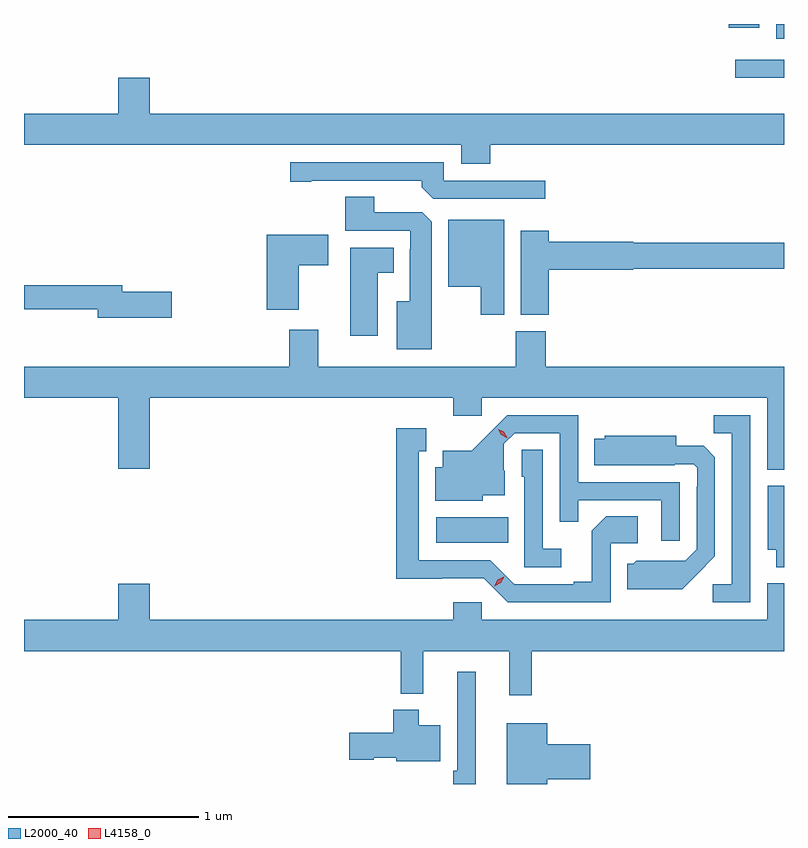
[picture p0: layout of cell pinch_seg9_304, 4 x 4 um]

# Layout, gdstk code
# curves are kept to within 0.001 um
import gdstk
lib = gdstk.Library(unit=1e-6, precision=1e-09)
def R(c, l, rs):  # rectangles x0, y0, x1, y1
    for r in rs: c.add(gdstk.rectangle(r[:2], r[2:], *l))
def P(c, l, *ps):  # polygons
    for p in ps: c.add(gdstk.Polygon(p, *l))
L2000_40 = (2000, 40)
L4158_0 = (4158, 0)

pinch_seg9_304 = lib.new_cell('pinch_seg9_304')
R(pinch_seg9_304, L2000_40, [(610.236,1195.658,610.616,1195.792), (611.811,1198.104,612.067,1198.2), (612.026,1198.31,612.067,1198.388), (611.776,1198.368,611.938,1198.388)])
P(pinch_seg9_304, L2000_40, [(610.52,1197.752),(612.067,1197.752),(612.067,1197.916),(608.728,1197.916),(608.728,1198.105),(608.564,1198.105),(608.564,1197.916),(608.067,1197.916),(608.067,1197.752),(610.367,1197.752),(610.367,1197.653),(610.52,1197.653)],
  [(610.81,1197.564),(610.275,1197.564),(610.275,1197.66),(609.468,1197.66),(609.468,1197.559),(609.58,1197.559),(609.58,1197.564),(610.16,1197.564),(610.16,1197.53),(610.221,1197.468),(610.81,1197.468)],
  [(610.213,1197.347),(610.164,1197.396),(609.91,1197.396),(609.91,1197.479),(609.758,1197.479),(609.758,1197.3),(610.101,1197.3),(610.101,1197.203),(610.097,1197.203),(610.097,1196.929),(610.028,1196.929),(610.028,1196.675),(610.213,1196.675)],
  [(610.594,1197.358),(610.301,1197.358),(610.301,1197.005),(610.472,1197.005),(610.472,1196.859),(610.594,1196.859)],
  [(610.829,1197.095),(611.274,1197.095),(611.274,1197.1),(612.067,1197.1),(612.067,1197.236),(611.274,1197.236),(611.274,1197.242),(610.829,1197.242),(610.829,1197.301),(610.682,1197.301),(610.682,1196.857),(610.829,1196.857)],
  [(609.514,1197.118),(609.667,1197.118),(609.667,1197.28),(609.344,1197.28),(609.344,1196.885),(609.514,1196.885)],
  [(609.928,1197.08),(610.012,1197.08),(610.012,1197.211),(609.785,1197.211),(609.785,1196.748),(609.928,1196.748)],
  [(608.845,1196.978),(608.584,1196.978),(608.584,1197.014),(608.067,1197.014),(608.067,1196.886),(608.456,1196.886),(608.456,1196.843),(608.845,1196.843)],
  [(610.654,1196.772),(610.654,1196.584),(609.616,1196.584),(609.616,1196.779),(609.464,1196.779),(609.464,1196.584),(608.067,1196.584),(608.067,1196.42),(608.564,1196.42),(608.564,1196.046),(608.728,1196.046),(608.728,1196.42),(610.325,1196.42),(610.325,1196.325),(610.476,1196.325),(610.476,1196.42),(611.978,1196.42),(611.978,1196.042),(612.067,1196.042),(612.067,1196.584),(610.814,1196.584),(610.814,1196.772)],
  [(611.889,1196.328),(611.698,1196.328),(611.698,1196.233),(611.793,1196.233),(611.793,1195.44),(611.691,1195.44),(611.691,1195.344),(611.889,1195.344)],
  [(611.517,1195.977),(610.983,1195.977),(610.983,1196.328),(610.61,1196.328),(610.423,1196.143),(610.271,1196.143),(610.271,1196.056),(610.232,1196.056),(610.232,1195.88),(610.482,1195.88),(610.482,1195.907),(610.597,1195.907),(610.597,1196.036),(610.593,1196.036),(610.593,1196.178),(610.65,1196.235),(610.887,1196.235),(610.887,1195.768),(610.985,1195.768),(610.985,1195.881),(611.421,1195.881),(611.421,1195.668),(611.517,1195.668)],
  [(611.154,1195.656),(611.296,1195.656),(611.296,1195.796),(611.131,1195.796),(611.055,1195.72),(611.055,1195.453),(610.961,1195.453),(610.961,1195.44),(610.647,1195.44),(610.521,1195.566),(610.144,1195.566),(610.144,1196.139),(610.183,1196.139),(610.183,1196.26),(610.026,1196.26),(610.026,1195.469),(610.488,1195.47),(610.614,1195.344),(611.154,1195.344)],
  [(611.611,1195.493),(611.703,1195.586),(611.703,1196.108),(611.644,1196.167),(611.5,1196.167),(611.5,1196.221),(611.124,1196.221),(611.124,1196.206),(611.068,1196.206),(611.068,1196.066),(611.492,1196.066),(611.492,1196.07),(611.592,1196.07),(611.61,1196.052),(611.61,1195.952),(611.607,1195.952),(611.607,1195.623),(611.547,1195.563),(611.29,1195.564),(611.274,1195.548),(611.243,1195.548),(611.243,1195.412),(611.531,1195.412)],
  [(610.894,1195.627),(610.797,1195.627),(610.797,1196.147),(610.686,1196.147),(610.686,1196.004),(610.701,1196.004),(610.701,1195.53),(610.894,1195.53)],
  [(612.067,1195.957),(611.981,1195.957),(611.981,1195.622),(612.026,1195.622),(612.026,1195.529),(612.067,1195.529)],
  [(610.622,1194.855),(610.739,1194.855),(610.739,1195.088),(612.067,1195.088),(612.067,1195.444),(611.978,1195.444),(611.978,1195.252),(610.476,1195.252),(610.476,1195.345),(610.325,1195.345),(610.325,1195.252),(608.728,1195.252),(608.728,1195.441),(608.564,1195.441),(608.564,1195.252),(608.067,1195.252),(608.067,1195.088),(610.051,1195.088),(610.051,1194.863),(610.169,1194.863),(610.169,1195.088),(610.622,1195.088)],
  [(610.444,1194.979),(610.347,1194.979),(610.347,1194.457),(610.327,1194.457),(610.327,1194.388),(610.444,1194.388)],
  [(610.258,1194.697),(610.144,1194.697),(610.144,1194.778),(610.01,1194.778),(610.01,1194.657),(609.78,1194.657),(609.78,1194.515),(609.909,1194.515),(609.909,1194.527),(610.026,1194.527),(610.026,1194.509),(610.258,1194.509)],
  [(610.822,1194.413),(611.047,1194.413),(611.047,1194.596),(610.822,1194.596),(610.822,1194.709),(610.607,1194.709),(610.607,1194.388),(610.822,1194.388)])
P(pinch_seg9_304, L4158_0, [(610.543,1195.429),(610.543,1195.429),(610.561,1195.462),(610.593,1195.48),(610.594,1195.48),(610.594,1195.48),(610.576,1195.448),(610.543,1195.429)],
  [(610.609,1196.211),(610.579,1196.226),(610.562,1196.256),(610.562,1196.256),(610.562,1196.256),(610.592,1196.241),(610.61,1196.211),(610.61,1196.211)])

lib.write_gds('pinch_seg9_304.gds')
